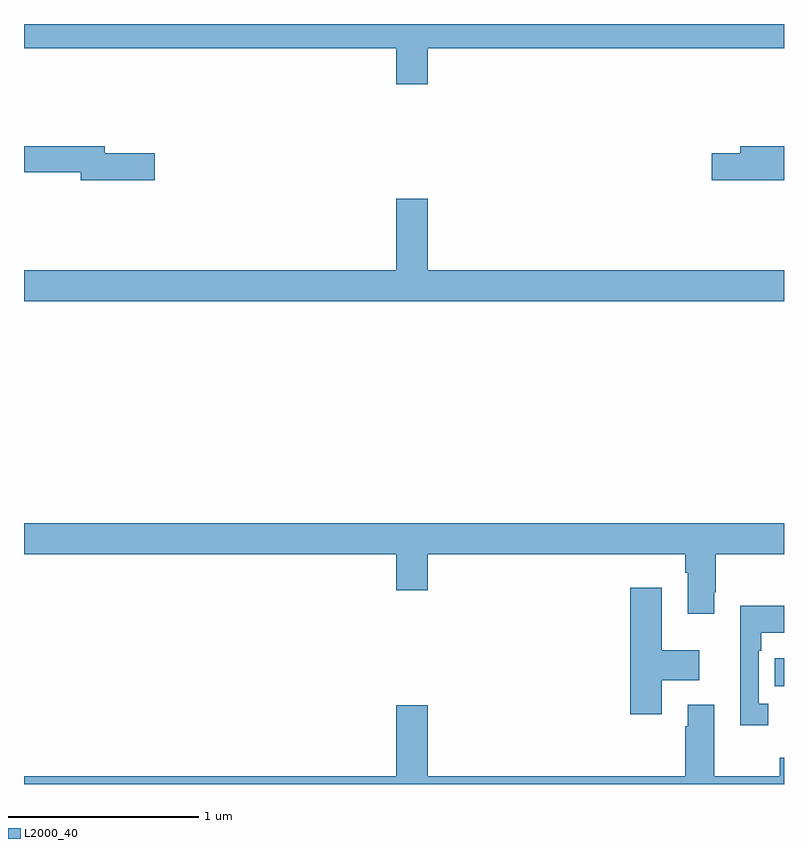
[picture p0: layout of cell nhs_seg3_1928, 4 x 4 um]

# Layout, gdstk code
import gdstk
lib = gdstk.Library(unit=1e-6, precision=1e-09)
def R(c, l, rs):  # rectangles x0, y0, x1, y1
    for r in rs: c.add(gdstk.rectangle(r[:2], r[2:], *l))
def P(c, l, *ps):  # polygons
    for p in ps: c.add(gdstk.Polygon(p, *l))
L2000_40 = (2000, 40)

nhs_seg3_1928 = lib.new_cell('nhs_seg3_1928')
R(nhs_seg3_1928, L2000_40, [(214.951,674.914,215,675.061)])
P(nhs_seg3_1928, L2000_40, [(213.124,678.272),(215,678.272),(215,678.4),(211,678.4),(211,678.272),(212.96,678.272),(212.96,678.084),(213.124,678.084)],
  [(211.687,677.72),(211.426,677.72),(211.426,677.756),(211,677.756),(211,677.62),(211.298,677.62),(211.298,677.578),(211.687,677.578)],
  [(215,677.756),(214.769,677.756),(214.769,677.72),(214.62,677.72),(214.62,677.578),(215,677.578)],
  [(215,677.104),(213.124,677.104),(213.124,677.479),(212.96,677.479),(212.96,677.104),(211,677.104),(211,676.94),(215,676.94)],
  [(214.633,675.409),(214.641,675.409),(214.641,675.608),(215,675.608),(215,675.772),(211,675.772),(211,675.608),(212.96,675.608),(212.96,675.42),(213.124,675.42),(213.124,675.608),(214.481,675.608),(214.481,675.512),(214.493,675.512),(214.493,675.297),(214.633,675.297)],
  [(214.357,674.945),(214.555,674.945),(214.555,675.103),(214.357,675.103),(214.357,675.433),(214.19,675.433),(214.19,674.766),(214.357,674.766)],
  [(214.918,674.822),(214.866,674.822),(214.866,675.101),(214.879,675.101),(214.879,675.197),(215,675.197),(215,675.337),(214.769,675.337),(214.769,674.709),(214.918,674.709)],
  [(211,674.4),(215,674.4),(215,674.539),(214.978,674.539),(214.978,674.44),(214.633,674.44),(214.633,674.818),(214.493,674.818),(214.493,674.705),(214.481,674.705),(214.481,674.44),(213.124,674.44),(213.124,674.815),(212.96,674.815),(212.96,674.44),(211,674.44)])

lib.write_gds('nhs_seg3_1928.gds')
